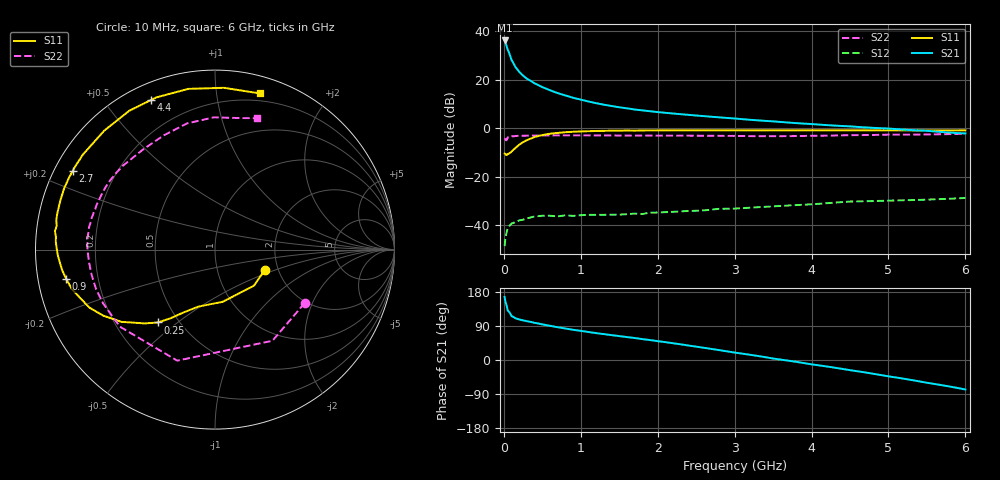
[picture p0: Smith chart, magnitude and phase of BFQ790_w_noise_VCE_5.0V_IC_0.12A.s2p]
! (c) 2015  Infineon Technologies AG, Munich
! Infineon Technologies  Discrete & RF Semiconductors
! BFQ790
! VCE =  5.0 V,  IC = 0.12 A
! Common Emitter S-Parameters:  May 2015
# GHz  S  MA  R  50
!  f  S11  S21  S12  S22
! GHz  MAG  ANG  MAG  ANG  MAG  ANG  MAG  ANG
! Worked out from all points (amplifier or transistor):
!   77 points, 10 MHz to 6 GHz, reference 50 ohm
!   highest |S21| = 36.2 dB at 10 MHz (marker M1)
!   |S21| within 3 dB of that: start of sweep to 42.38 MHz
!   unconditionally stable (mu >= 1): start of sweep to 19.89 MHz; 196 MHz to 484.7 MHz; 1.021 GHz to end of sweep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
!   at 130 MHz: K = 0.88, MSG = 32.7 dB, |S12| = -38.9 dB
!   at 2.2 GHz: K = 1.26, MAG = 17.2 dB, |S12| = -34.5 dB
!   at 6 GHz: K = 1.23, MAG = 10.4 dB, |S12| = -28.8 dB
!   lowest NFmin = 2.73 dB at 1.5 GHz
!   S11 on the Smith chart (normalised r, x): 10 MHz: 1.70, -0.43; 250 MHz: 0.38, -0.43; 900 MHz: 0.08, -0.10; 2.7 GHz: 0.05, +0.26; 4.4 GHz: 0.07, +0.66; 6 GHz: 0.14, +1.32
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0.01  0.2999 -22.5  64.5 166.5  0.0037 34.4  0.5818 -30.8
0.02  0.2956 -42.9  59.67 154.3  0.0053 43.8  0.6003 -57.8
0.05  0.294 -81.6  41.96 130.8  0.0088 29.3  0.6535 -108.8
0.1  0.331 -106.3  25.55 115.8  0.0108 21.5  0.682 -141.0
0.15  0.3909 -116.5  18.33 110.2  0.0116 22.6  0.6919 -154.4
0.2  0.4565 -123.0  14.51 106.9  0.0126 20.5  0.698 -161.5
0.25  0.5167 -128.2  12.15 104.6  0.013 18.6  0.7 -166.2
0.3  0.5681 -133.6  10.5 102.4  0.0138 15.5  0.7023 -169.7
0.4  0.6584 -142.3  8.42 98.1  0.0152 15.6  0.7055 -174.6
0.5  0.7225 -149.3  7.039 94.0  0.0157 12.5  0.7083 -178.2
0.6  0.7709 -155.2  6.065 90.3  0.0157 10.9  0.7116 178.9
0.7  0.7995 -160.5  5.298 86.5  0.0152 10.7  0.7123 176.5
0.9  0.8447 -168.9  4.251 79.7  0.0156 7.2  0.712 172.8
1.1  0.8682 -175.5  3.558 73.9  0.0164 7.0  0.7122 169.5
1.5  0.8895 175.3  2.706 63.1  0.0165 6.3  0.7069 163.9
2.1  0.9024 164.0  2.079 47.1  0.0186 4.3  0.7026 155.5
2.7  0.9058 151.2  1.724 29.2  0.021 0.6  0.6976 144.1
3.1  0.9036 142.0  1.538 16.8  0.0225 -3.5  0.69 135.2
4.1  0.9067 119.6  1.187 -14.3  0.0277 -15.2  0.6997 111.8
4.4  0.9065 113.2  1.111 -23.5  0.03 -19.9  0.7132 104.8
5.1  0.9033 96.9  0.959 -46.2  0.0324 -33.4  0.7365 88.4
6  0.9052 74.1  0.78 -77.8  0.0365 -52.3  0.7684 72.4
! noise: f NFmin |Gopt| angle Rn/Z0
0.45  4.3  0.41  134  0.42
0.9  3.08  0.54  164  0.15
1.5  2.73  0.66  -174  0.08
1.8  2.83  0.68  -169  0.08
2.6  3.21  0.73  -152  0.21
3.5  3.79  0.83  -136  0.49
